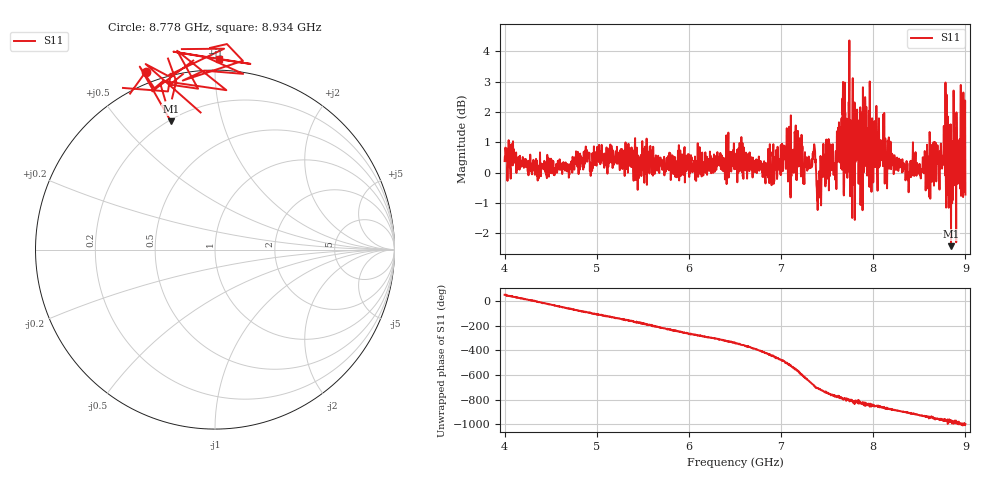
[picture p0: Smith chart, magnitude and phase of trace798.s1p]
! Created with skrf 1.8.0 (http://scikit-rf.org).
# Hz S RI R 50.0
!freq ReS11 ImS11
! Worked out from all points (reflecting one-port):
!   1601 points, 4 GHz to 9 GHz, reference 50 ohm
!   lowest |S11| = -2.4 dB at 8.844 GHz (marker M1), VSWR 7.23, Z = 10.3 + j34.6 ohm
!   phase of S11 starts at 51 deg and turns -1050 deg over the sweep
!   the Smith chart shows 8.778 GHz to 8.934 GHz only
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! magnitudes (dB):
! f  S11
! 4 GHz  0.4
! 4.625 GHz  0.0
! 5.25 GHz  0.1
! 5.875 GHz  0.4
! 6.5 GHz  0.6
! 6.819 GHz  0.1
! 7.069 GHz  1.3
! 7.125 GHz  0.4
! 7.209 GHz  0.8
! 7.262 GHz  0.4
! 7.353 GHz  0.6
! 7.409 GHz  -0.8
! 7.45 GHz  -0.1
! 7.591 GHz  0.6
! 7.65 GHz  0.1
! 7.691 GHz  3.0
! 7.703 GHz  0.6
! 7.716 GHz  0.1
! 7.75 GHz  -0.8
! 7.775 GHz  2.2
! 7.834 GHz  1.3
! 8.097 GHz  0.6
! 8.375 GHz  0.0
! 8.738 GHz  0.5
! 8.788 GHz  -0.3
! 8.844 GHz  -2.4
! 8.972 GHz  0.8
! 9 GHz  -0.7
